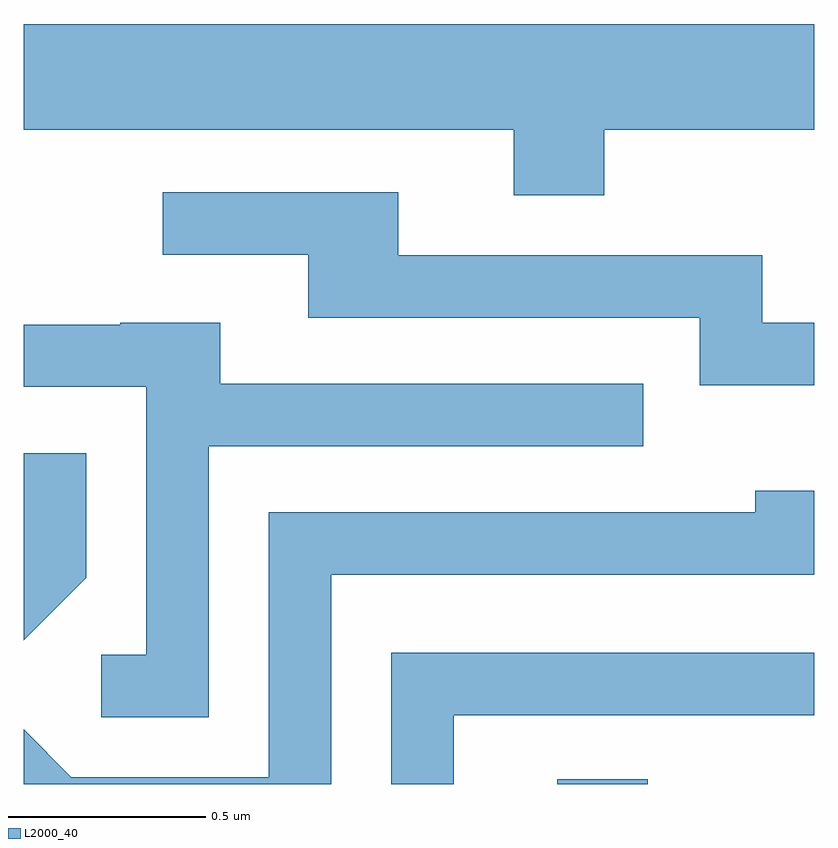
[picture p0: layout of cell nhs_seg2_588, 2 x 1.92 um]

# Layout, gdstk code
import gdstk
lib = gdstk.Library(unit=1e-6, precision=1e-09)
def R(c, l, rs):  # rectangles x0, y0, x1, y1
    for r in rs: c.add(gdstk.rectangle(r[:2], r[2:], *l))
def P(c, l, *ps):  # polygons
    for p in ps: c.add(gdstk.Polygon(p, *l))
L2000_40 = (2000, 40)

nhs_seg2_588 = lib.new_cell('nhs_seg2_588')
R(nhs_seg2_588, L2000_40, [(190.961,1017.802,191.189,1017.814)])
P(nhs_seg2_588, L2000_40, [(191.079,1019.456),(191.611,1019.456),(191.611,1019.724),(189.611,1019.724),(189.611,1019.456),(190.851,1019.456),(190.851,1019.291),(191.079,1019.291)],
  [(191.611,1018.969),(191.479,1018.969),(191.479,1019.139),(190.559,1019.139),(190.559,1019.299),(189.963,1019.299),(189.963,1019.141),(190.331,1019.141),(190.331,1018.981),(191.321,1018.981),(191.321,1018.811),(191.611,1018.811)],
  [(190.079,1018.656),(191.178,1018.656),(191.178,1018.814),(190.109,1018.814),(190.109,1018.969),(189.855,1018.969),(189.855,1018.964),(189.611,1018.964),(189.611,1018.806),(189.921,1018.806),(189.921,1018.129),(189.808,1018.129),(189.808,1017.971),(190.079,1017.971)],
  [(189.769,1018.324),(189.769,1018.638),(189.611,1018.638),(189.611,1018.165)],
  [(190.389,1018.331),(191.611,1018.331),(191.611,1018.544),(191.461,1018.544),(191.461,1018.489),(190.231,1018.489),(190.231,1017.819),(189.732,1017.819),(189.611,1017.94),(189.611,1017.802),(190.389,1017.802)],
  [(190.699,1017.976),(191.611,1017.976),(191.611,1018.134),(190.541,1018.134),(190.541,1017.802),(190.699,1017.802)])

lib.write_gds('nhs_seg2_588.gds')
